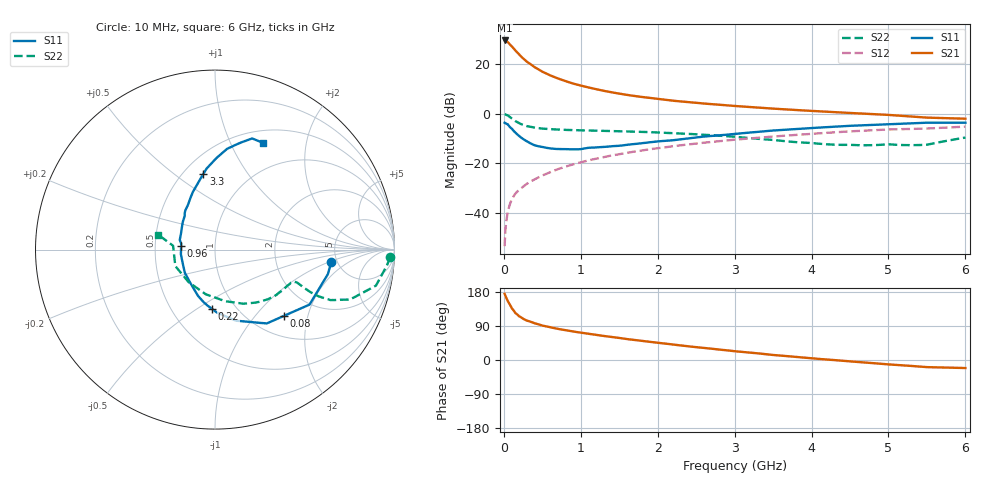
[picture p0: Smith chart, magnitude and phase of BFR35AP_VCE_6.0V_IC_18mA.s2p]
! Infineon Technologies  Discrete & RF Semiconductors
! BFR35AP
! VCE =  6.0 V,  IC =  18 mA
! Common Emitter S-Parameters:  Nov 2015
# GHz  S  MA  R  50
!  f  S11  S21  S12  S22
! GHz  MAG  ANG  MAG  ANG  MAG  ANG  MAG  ANG
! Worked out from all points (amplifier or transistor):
!   210 points, 10 MHz to 6 GHz, reference 50 ohm
!   highest |S21| = 29.5 dB at 10 MHz (marker M1)
!   |S21| within 3 dB of that: start of sweep to 120.8 MHz
!   unconditionally stable (mu >= 1): 455.6 MHz to 2.841 GHz
!   at 185 MHz: K = 0.68, MSG = 27.8 dB, |S12| = -31.2 dB
!   at 1.52 GHz: K = 1.09, MAG = 10.2 dB, |S12| = -16.3 dB
!   at 6 GHz: K = 0.92, MSG = 1.6 dB, |S12| = -5.3 dB
!   S11 on the Smith chart (normalised r, x): 10 MHz: 4.46, -1.09; 80 MHz: 1.39, -1.43; 220 MHz: 0.78, -0.58; 960 MHz: 0.68, +0.03; 3.3 GHz: 0.62, +0.64; 6 GHz: 0.64, +1.33
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0.01  0.6516 -6.2  29.88 174.6  0.0021 87.5  0.9768 -2.5
0.02  0.6435 -12.3  29.45 169.5  0.0044 80.8  0.9617 -5.3
0.05  0.6093 -30.2  27.88 155.7  0.0101 77.3  0.919 -12.6
0.08  0.5326 -43.9  24.7 145.5  0.0149 72.1  0.847 -17.0
0.1  0.5024 -55.0  23.12 137.3  0.0181 70.2  0.8022 -20.3
0.15  0.4125 -73.7  18.72 123.9  0.0242 65.5  0.7033 -23.6
0.2  0.351 -88.2  15.44 115.3  0.0289 66.1  0.6347 -24.3
0.22  0.3313 -92.7  14.42 113.0  0.0306 66.0  0.6159 -24.2
0.26  0.2992 -102.3  12.56 107.9  0.0342 66.0  0.5815 -24.0
0.3  0.2742 -110.3  11.12 103.9  0.0383 66.9  0.5571 -23.6
0.4  0.2289 -127.8  8.642 96.9  0.0469 68.1  0.5182 -22.6
0.5  0.2116 -142.7  6.998 90.9  0.0559 69.3  0.496 -21.9
0.7  0.1921 -164.7  5.128 82.2  0.075 69.6  0.4751 -22.3
0.96  0.1899 173.2  3.806 73.4  0.0998 69.0  0.4601 -24.1
1.02  0.1935 168.9  3.599 71.5  0.1055 68.7  0.458 -24.7
1.4  0.219 148.1  2.679 60.7  0.1418 66.2  0.443 -29.7
2.02  0.2752 126.6  1.953 45.1  0.2015 60.5  0.4137 -40.0
3.1  0.4005 101.9  1.386 21.4  0.3057 48.4  0.3291 -65.2
3.3  0.4266 98.7  1.318 17.6  0.3243 45.9  0.3089 -71.6
4.1  0.5206 87.8  1.108 2.8  0.399 36.2  0.2457 -106.6
5.1  0.616 76.1  0.915 -12.9  0.4804 22.1  0.234 -162.8
6  0.6519 66.0  0.787 -21.2  0.5442 11.6  0.3273 165.3
